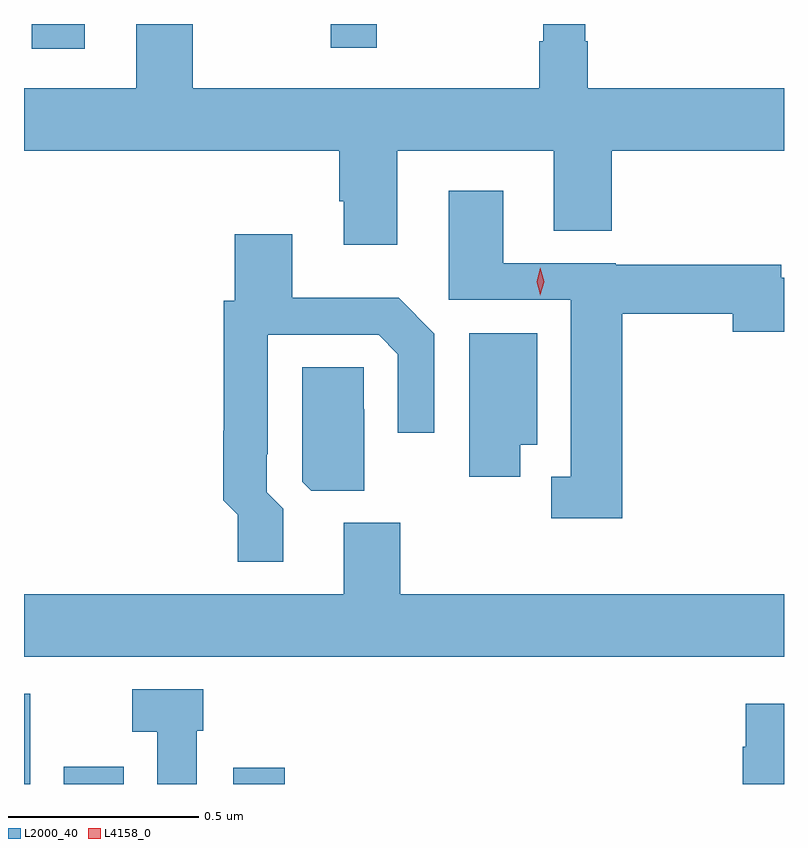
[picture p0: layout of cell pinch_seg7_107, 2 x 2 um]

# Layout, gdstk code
import gdstk
lib = gdstk.Library(unit=1e-6, precision=1e-09)
def R(c, l, rs):  # rectangles x0, y0, x1, y1
    for r in rs: c.add(gdstk.rectangle(r[:2], r[2:], *l))
def P(c, l, *ps):  # polygons
    for p in ps: c.add(gdstk.Polygon(p, *l))
L2000_40 = (2000, 40)
L4158_0 = (4158, 0)

pinch_seg7_107 = lib.new_cell('pinch_seg7_107')
R(pinch_seg7_107, L2000_40, [(888.975,1000.281,888.991,1000.519), (889.079,1000.281,889.237,1000.327), (889.526,1000.281,889.661,1000.324), (888.995,1002.216,889.135,1002.281), (889.782,1002.219,889.903,1002.281)])
P(pinch_seg7_107, L2000_40, [(889.957,1001.948),(890.369,1001.948),(890.369,1001.737),(890.522,1001.737),(890.522,1001.948),(890.975,1001.948),(890.975,1002.112),(890.459,1002.112),(890.459,1002.236),(890.452,1002.236),(890.452,1002.281),(890.342,1002.281),(890.342,1002.236),(890.331,1002.236),(890.331,1002.112),(889.419,1002.112),(889.419,1002.281),(889.271,1002.281),(889.271,1002.112),(888.975,1002.112),(888.975,1001.948),(889.805,1001.948),(889.805,1001.815),(889.817,1001.815),(889.817,1001.7),(889.957,1001.7)],
  [(890.549,1001.518),(890.84,1001.518),(890.84,1001.471),(890.975,1001.471),(890.975,1001.613),(890.968,1001.613),(890.968,1001.647),(890.532,1001.647),(890.532,1001.652),(890.236,1001.652),(890.236,1001.842),(890.093,1001.842),(890.093,1001.556),(890.414,1001.556),(890.414,1001.09),(890.362,1001.09),(890.362,1000.98),(890.549,1000.98)],
  [(889.657,1001.006),(889.614,1001.049),(889.614,1001.149),(889.617,1001.149),(889.617,1001.463),(889.908,1001.463),(889.959,1001.412),(889.959,1001.205),(890.055,1001.205),(890.055,1001.466),(889.961,1001.56),(889.681,1001.56),(889.681,1001.728),(889.529,1001.728),(889.529,1001.553),(889.501,1001.553),(889.501,1001.21),(889.499,1001.21),(889.499,1001.028),(889.537,1000.989),(889.537,1000.866),(889.657,1000.866)],
  [(890.281,1001.174),(890.326,1001.174),(890.326,1001.467),(890.147,1001.467),(890.147,1001.09),(890.281,1001.09)],
  [(889.87,1001.267),(889.869,1001.267),(889.869,1001.378),(889.707,1001.378),(889.707,1001.076),(889.731,1001.053),(889.87,1001.053)],
  [(890.975,1000.78),(889.965,1000.78),(889.965,1000.968),(889.817,1000.968),(889.817,1000.78),(888.975,1000.78),(888.975,1000.616),(890.975,1000.616)],
  [(889.429,1000.421),(889.447,1000.421),(889.447,1000.531),(889.26,1000.531),(889.26,1000.418),(889.325,1000.418),(889.325,1000.281),(889.429,1000.281)],
  [(890.975,1000.492),(890.874,1000.492),(890.874,1000.379),(890.866,1000.379),(890.866,1000.281),(890.975,1000.281)])
P(pinch_seg7_107, L4158_0, [(890.334,1001.567),(890.334,1001.568),(890.324,1001.603),(890.334,1001.639),(890.334,1001.639),(890.334,1001.639),(890.344,1001.603),(890.334,1001.568)])

lib.write_gds('pinch_seg7_107.gds')
